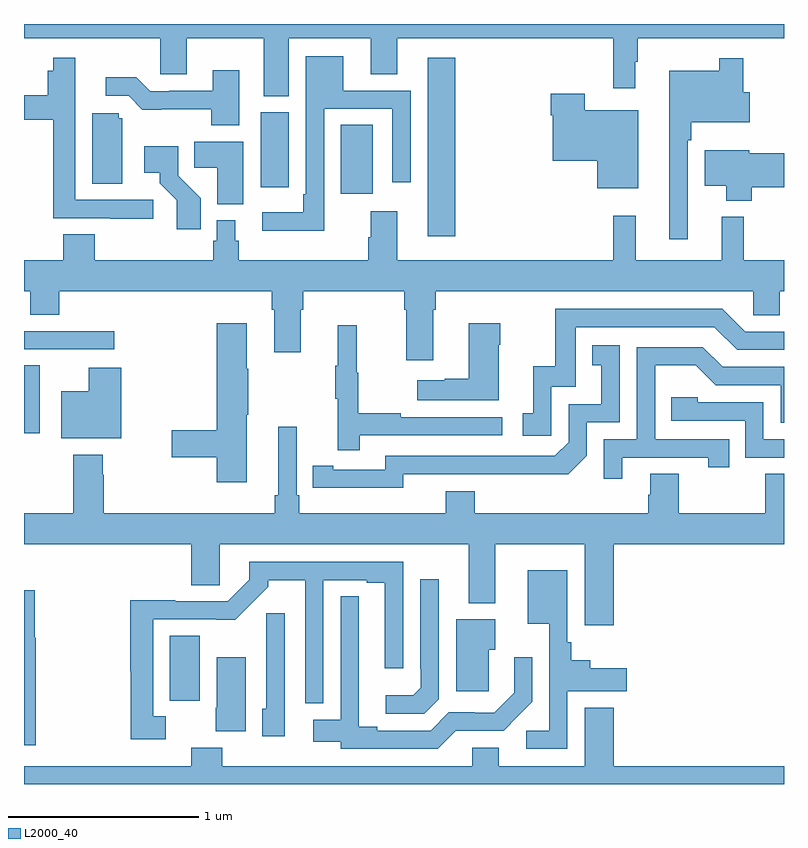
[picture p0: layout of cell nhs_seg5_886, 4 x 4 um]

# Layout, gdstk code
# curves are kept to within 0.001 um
import gdstk
lib = gdstk.Library(unit=1e-6, precision=1e-09)
def R(c, l, rs):  # rectangles x0, y0, x1, y1
    for r in rs: c.add(gdstk.rectangle(r[:2], r[2:], *l))
def P(c, l, *ps):  # polygons
    for p in ps: c.add(gdstk.Polygon(p, *l))
L2000_40 = (2000, 40)

nhs_seg5_886 = lib.new_cell('nhs_seg5_886')
R(nhs_seg5_886, L2000_40, [(167.768,889.236,167.926,889.58), (167,890.646,167.083,891.002), (167,891.087,167.476,891.183), (169.124,891.681,169.271,892.621), (168.668,891.906,168.835,892.268), (168.245,891.939,168.394,892.335)])
P(nhs_seg5_886, L2000_40, [(167,892.724),(167.718,892.724),(167.718,892.534),(167.857,892.534),(167.857,892.724),(168.263,892.724),(168.263,892.42),(168.394,892.42),(168.394,892.724),(168.824,892.724),(168.824,892.534),(168.964,892.534),(168.964,892.724),(170.101,892.724),(170.101,892.461),(170.218,892.461),(170.218,892.601),(170.23,892.601),(170.23,892.724),(171,892.724),(171,892.799),(167,892.799)],
  [(168.579,892.353),(168.939,892.353),(168.939,891.966),(169.035,891.966),(169.035,892.449),(168.679,892.449),(168.679,892.63),(168.483,892.63),(168.483,891.904),(168.471,891.904),(168.471,891.808),(168.255,891.808),(168.255,891.71),(168.579,891.71)],
  [(167.68,891.873),(167.271,891.873),(167.271,892.621),(167.155,892.621),(167.155,892.552),(167.126,892.552),(167.126,892.423),(167,892.423),(167,892.294),(167.155,892.294),(167.155,891.777),(167.455,891.777),(167.455,891.775),(167.68,891.775)],
  [(170.493,892.187),(170.513,892.187),(170.513,892.283),(170.821,892.283),(170.821,892.441),(170.786,892.441),(170.786,892.618),(170.658,892.618),(170.658,892.552),(170.396,892.552),(170.396,891.666),(170.493,891.666)],
  [(168.133,892.555),(167.993,892.555),(167.993,892.449),(167.764,892.449),(167.764,892.446),(167.664,892.446),(167.591,892.519),(167.43,892.519),(167.43,892.422),(167.55,892.422),(167.623,892.349),(167.986,892.35),(167.986,892.265),(168.133,892.265)],
  [(170.233,892.345),(169.95,892.345),(169.95,892.432),(169.772,892.432),(169.772,892.319),(169.784,892.319),(169.784,892.079),(170.018,892.079),(170.018,891.935),(170.233,891.935)],
  [(167.518,892.302),(167.499,892.302),(167.499,892.329),(167.36,892.329),(167.36,891.958),(167.518,891.958)],
  [(168.154,892.18),(167.896,892.18),(167.896,892.042),(168.017,892.042),(168.017,891.851),(168.154,891.851)],
  [(167.93,891.882),(167.811,892.001),(167.811,892.156),(167.634,892.156),(167.634,892.016),(167.714,892.016),(167.714,891.961),(167.805,891.871),(167.805,891.72),(167.93,891.72)],
  [(170.831,891.94),(171,891.94),(171,892.118),(170.818,892.118),(170.818,892.135),(170.582,892.135),(170.582,891.947),(170.696,891.947),(170.696,891.869),(170.831,891.869)],
  [(169.153,891.296),(169.166,891.296),(169.166,891.392),(170.838,891.392),(170.838,891.265),(170.977,891.265),(170.977,891.392),(171,891.392),(171,891.556),(170.789,891.556),(170.789,891.784),(170.672,891.784),(170.672,891.556),(170.219,891.556),(170.219,891.79),(170.101,891.79),(170.101,891.556),(168.964,891.556),(168.964,891.814),(168.824,891.814),(168.824,891.677),(168.812,891.677),(168.812,891.556),(168.131,891.556),(168.131,891.657),(168.112,891.657),(168.112,891.766),(168.015,891.766),(168.015,891.657),(167.995,891.657),(167.995,891.556),(167.372,891.556),(167.372,891.692),(167.207,891.692),(167.207,891.556),(167,891.556),(167,891.392),(167.033,891.392),(167.033,891.268),(167.186,891.268),(167.186,891.392),(168.305,891.392),(168.305,891.296),(168.317,891.296),(168.317,891.072),(168.457,891.072),(168.457,891.296),(168.47,891.296),(168.47,891.392),(169.001,891.392),(169.001,891.296),(169.013,891.296),(169.013,891.03),(169.153,891.03)],
  [(169.776,890.889),(169.905,890.889),(169.905,891.204),(170.634,891.204),(170.754,891.084),(171,891.084),(171,891.18),(170.796,891.18),(170.676,891.3),(169.797,891.3),(169.797,890.998),(169.679,890.998),(169.679,890.751),(169.626,890.751),(169.626,890.631),(169.776,890.631)],
  [(169.498,891.11),(169.506,891.11),(169.506,891.223),(169.34,891.223),(169.34,890.933),(169.214,890.933),(169.214,890.923),(169.071,890.923),(169.071,890.819),(169.498,890.819)],
  [(168.172,890.743),(168.18,890.743),(168.18,890.984),(168.172,890.984),(168.172,891.223),(168.014,891.223),(168.014,890.66),(167.778,890.66),(167.778,890.518),(168.014,890.518),(168.014,890.388),(168.172,890.388)],
  [(168.767,890.634),(169.516,890.634),(169.516,890.73),(168.983,890.73),(168.983,890.75),(168.76,890.75),(168.76,890.964),(168.752,890.964),(168.752,891.214),(168.65,891.214),(168.65,891.001),(168.639,891.001),(168.639,890.827),(168.65,890.827),(168.65,890.556),(168.767,890.556)],
  [(168.996,890.43),(169.864,890.429),(169.962,890.526),(169.962,890.703),(170.136,890.703),(170.136,891.109),(169.99,891.109),(169.99,891.003),(170.039,891.003),(170.039,890.799),(169.866,890.799),(169.866,890.598),(169.794,890.526),(168.9,890.526),(168.9,890.454),(168.628,890.454),(168.628,890.474),(168.52,890.474),(168.52,890.358),(168.996,890.357)],
  [(170.149,890.517),(170.6,890.517),(170.6,890.466),(170.711,890.466),(170.711,890.613),(170.322,890.613),(170.322,891.002),(170.536,891.002),(170.64,890.898),(170.982,890.898),(170.982,890.7),(171,890.7),(171,890.994),(170.677,890.994),(170.572,891.099),(170.226,891.099),(170.226,890.613),(170.052,890.613),(170.052,890.406),(170.149,890.406)],
  [(167.513,890.989),(167.342,890.989),(167.342,890.866),(167.195,890.866),(167.195,890.618),(167.513,890.618)],
  [(171,890.613),(170.892,890.613),(170.892,890.808),(170.547,890.808),(170.547,890.835),(170.407,890.835),(170.407,890.712),(170.796,890.712),(170.796,890.517),(171,890.517)],
  [(170.105,890.06),(171,890.06),(171,890.432),(170.902,890.432),(170.902,890.224),(170.445,890.224),(170.445,890.432),(170.297,890.432),(170.297,890.322),(170.285,890.322),(170.285,890.224),(169.373,890.224),(169.373,890.341),(169.22,890.341),(169.22,890.224),(168.449,890.224),(168.449,890.32),(168.435,890.32),(168.435,890.68),(168.338,890.68),(168.338,890.32),(168.319,890.32),(168.319,890.224),(167.42,890.224),(167.42,890.426),(167.415,890.426),(167.415,890.533),(167.26,890.533),(167.26,890.224),(167,890.224),(167,890.06),(167.879,890.06),(167.879,889.846),(168.03,889.846),(168.03,890.06),(169.34,890.06),(169.34,889.751),(169.48,889.751),(169.48,890.06),(169.952,890.06),(169.952,889.635),(170.105,889.635)],
  [(167.746,889.155),(167.679,889.155),(167.679,889.665),(168.112,889.664),(168.286,889.837),(168.286,889.871),(168.48,889.871),(168.48,889.223),(168.576,889.223),(168.576,889.872),(168.803,889.872),(168.803,889.857),(168.899,889.857),(168.899,889.407),(168.996,889.407),(168.996,889.968),(168.186,889.968),(168.186,889.875),(168.072,889.761),(167.795,889.761),(167.795,889.766),(167.559,889.766),(167.559,889.392),(167.563,889.392),(167.563,889.035),(167.746,889.035)],
  [(169.86,889.286),(170.173,889.286),(170.173,889.408),(169.981,889.408),(169.981,889.45),(169.88,889.45),(169.88,889.546),(169.86,889.546),(169.86,889.924),(169.652,889.924),(169.652,889.643),(169.764,889.643),(169.764,889.08),(169.644,889.08),(169.644,888.984),(169.86,888.984)],
  [(169.182,889.245),(169.182,889.876),(169.086,889.876),(169.086,889.405),(169.089,889.405),(169.089,889.305),(169.049,889.265),(168.903,889.265),(168.903,889.17),(169.107,889.17)],
  [(167.063,889.57),(167.057,889.57),(167.057,889.819),(167,889.819),(167,889.002),(167.063,889.002)],
  [(169.273,889.08),(169.524,889.08),(169.674,889.232),(169.674,889.465),(169.58,889.465),(169.58,889.28),(169.474,889.174),(169.372,889.174),(169.372,889.176),(169.236,889.176),(169.14,889.08),(168.859,889.08),(168.859,889.1),(168.763,889.1),(168.762,889.787),(168.666,889.787),(168.666,889.138),(168.522,889.138),(168.522,889.022),(168.666,889.022),(168.666,888.984),(169.177,888.984)],
  [(168.372,889.699),(168.276,889.699),(168.276,889.194),(168.254,889.194),(168.254,889.05),(168.372,889.05)],
  [(169.447,889.505),(169.48,889.505),(169.48,889.666),(169.274,889.666),(169.274,889.287),(169.447,889.287)],
  [(168.166,889.465),(168.014,889.465),(168.014,889.2),(168.008,889.2),(168.008,889.076),(168.166,889.076)],
  [(171,888.892),(170.105,888.892),(170.105,889.201),(169.952,889.201),(169.952,888.892),(169.498,888.892),(169.498,888.991),(169.358,888.991),(169.358,888.892),(168.044,888.892),(168.044,888.991),(167.879,888.991),(167.879,888.892),(167,888.892),(167,888.799),(171,888.799)])

lib.write_gds('nhs_seg5_886.gds')
